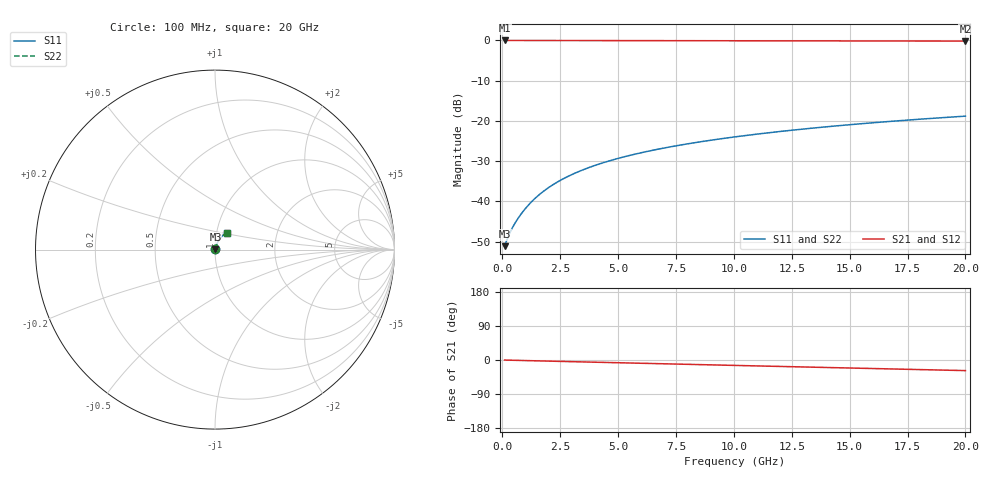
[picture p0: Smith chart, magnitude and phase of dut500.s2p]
! Touchstone file exported from HFSS 2026.1.0
!  File:  C:/ffzhzh/LocalFiles/Ansys_Project_Files/temp_train_TMRDL_500_1783006729_55676.aedt
!  Generated:  11:40:05 PM Jul  2, 2026
!  Design:  TMRDL
!  Project:  temp_train_TMRDL_500_1783006729_55676
! Variables:
!  h_bsmrdl = 2um
!  h_ox = 20um
!  h_rdl = 5um
!  h_sub = 80um
!  h_tmrdl = 4.95um
!  h_tsv = 80um
!  h_via = 3um
!  l_bsmrdl = 300um
!  l_sub = 890.56um
!  l_tmrdl = 490.56um
!  m_sub = 200um
!  pitch = 21.75um
!  r_tsv = 6um
!  s_tmrdl = 10um
!  w_bsmrdl = 18um
!  w_sub = 500um
!  w_tmrdl = 14.26um
!  x_tsv_center1 = 497.69um
!  x_tsv_center2 = 815.69um
!  x_tsv_center3 = 1320.51um
!  x_tsv_center4 = 1638.51um
!  x_tsv_center5 = 2143.33um
!  x_tsv_center6 = 2461.33um
# GHz S MA R 50.000000
! Terminal data exported
! Port[1] = TM_RDL1_1_T1
! Port[2] = TM_RDL1_1_T2
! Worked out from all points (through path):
!   200 points, 100 MHz to 20 GHz, reference 50 ohm
!   highest |S21| = -0.02 dB at 100 MHz (marker M1); lowest = -0.2 dB at 20 GHz (marker M2)
!   group delay of S21, straight-line fit = 3.87 ps
!   lowest |S11| = -51.1 dB at 100 MHz (marker M3), VSWR 1.01, Z = 50.3 + j0.0969 ohm
!   |S11| at or under -10 dB: start of sweep to end of sweep
!   |S22| runs from -51.1 to -18.8 dB; largest |S21 - S12| = 3.1e-15
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0.1  0.002775 20.3  0.9974 -0.2  0.9974 -0.2  0.002775 20.3
! Gamma 0 0 0 0
! Port Impedance 50 0 50 0
0.2  0.003325 32.9  0.9972 -0.3  0.9972 -0.3  0.003325 32.9
0.3  0.003912 40.6  0.997 -0.5  0.997 -0.5  0.003913 40.6
0.4  0.004491 46.1  0.9969 -0.6  0.9969 -0.6  0.004491 46.1
0.6  0.00566 54.1  0.9967 -0.9  0.9967 -0.9  0.005661 54.1
0.9  0.007516 61.7  0.9965 -1.3  0.9965 -1.3  0.007516 61.7
1.1  0.00881 64.9  0.9964 -1.6  0.9964 -1.6  0.00881 64.9
1.3  0.01013 67.2  0.9963 -1.9  0.9963 -1.9  0.01013 67.2
1.5  0.01147 68.8  0.9962 -2.2  0.9962 -2.2  0.01147 68.8
1.8  0.01349 70.5  0.996 -2.7  0.996 -2.7  0.01349 70.5
2.3  0.01685 72.0  0.9956 -3.4  0.9956 -3.4  0.01685 72.0
2.9  0.02084 72.7  0.9951 -4.3  0.9951 -4.3  0.02084 72.7
3.5  0.02475 72.8  0.9945 -5.1  0.9945 -5.1  0.02475 72.8
4.2  0.02921 72.4  0.9938 -6.1  0.9938 -6.1  0.02921 72.4
5  0.03417 71.9  0.993 -7.3  0.993 -7.3  0.03417 71.8
5.9  0.0396 71.0  0.992 -8.5  0.992 -8.5  0.0396 71.0
6.8  0.0449 70.1  0.9911 -9.8  0.9911 -9.8  0.0449 70.1
8.3  0.05351 68.6  0.9897 -11.9  0.9897 -11.9  0.05351 68.6
10.1  0.06353 66.7  0.9881 -14.4  0.9881 -14.4  0.06353 66.6
13.4  0.08126 63.0  0.9852 -18.9  0.9852 -18.9  0.08126 63.0
16.7  0.09824 59.1  0.9823 -23.5  0.9823 -23.5  0.09824 59.1
20  0.1144 55.1  0.9795 -28.0  0.9795 -28.0  0.1144 55.1
